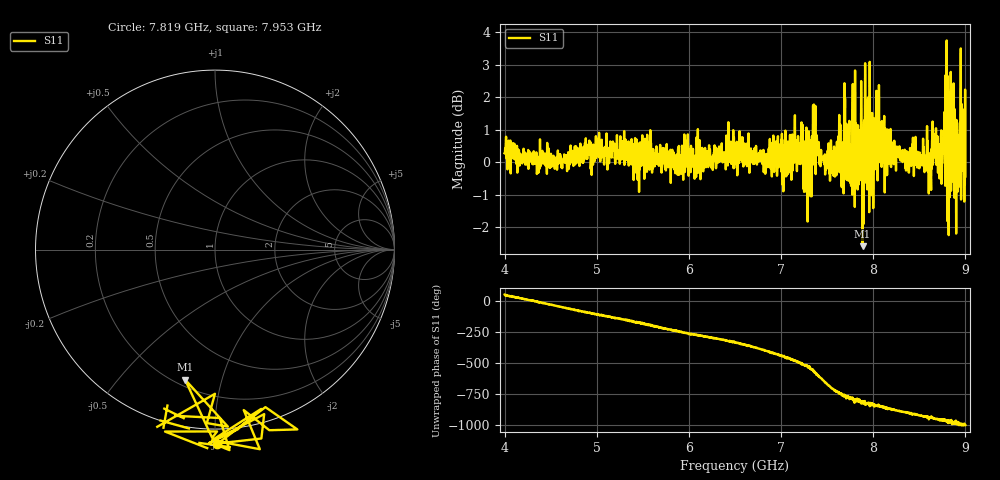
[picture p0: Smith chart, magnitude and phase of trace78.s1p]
! Created with skrf 1.8.0 (http://scikit-rf.org).
# Hz S RI R 50.0
!freq ReS11 ImS11
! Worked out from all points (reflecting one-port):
!   1601 points, 4 GHz to 9 GHz, reference 50 ohm
!   lowest |S11| = -2.6 dB at 7.884 GHz (marker M1), VSWR 6.78, Z = 11.9 - j38.4 ohm
!   phase of S11 starts at 55 deg and turns -1055 deg over the sweep
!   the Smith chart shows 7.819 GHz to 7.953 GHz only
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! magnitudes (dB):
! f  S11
! 4 GHz  0.3
! 4.625 GHz  -0.2
! 5.25 GHz  0.0
! 5.875 GHz  -0.1
! 6.5 GHz  0.4
! 7.125 GHz  -0.3
! 7.209 GHz  0.6
! 7.306 GHz  0.7
! 7.369 GHz  0.9
! 7.419 GHz  0.0
! 7.509 GHz  -0.1
! 7.659 GHz  -0.8
! 7.688 GHz  2.4
! 7.75 GHz  -0.6
! 7.8 GHz  -1.4
! 7.884 GHz  -2.6
! 7.909 GHz  0.9
! 7.928 GHz  1.4
! 7.981 GHz  -1.0
! 8.05 GHz  1.0
! 8.375 GHz  0.0
! 8.612 GHz  0.2
! 8.656 GHz  0.9
! 8.725 GHz  0.4
! 8.788 GHz  -0.1
! 8.9 GHz  -2.2
! 8.972 GHz  0.7
! 9 GHz  -0.4
